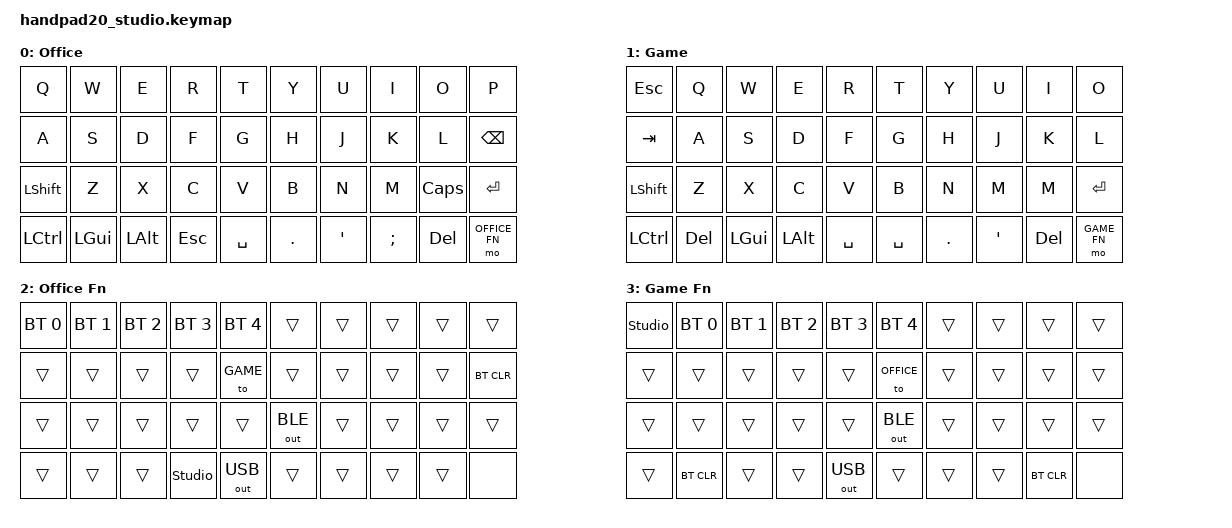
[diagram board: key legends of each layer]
#include <behaviors.dtsi>
#include <dt-bindings/zmk/bt.h>
#include <dt-bindings/zmk/keys.h>
#include <dt-bindings/zmk/outputs.h>

#define OFFICE     0
#define GAME       1
#define OFFICE_FN  2
#define GAME_FN    3

/ {
    keymap {
        compatible = "zmk,keymap";

        office_layer {
            display-name = "Office";
            bindings = <
                &kp Q      &kp W     &kp E     &kp R     &kp T      &kp Y    &kp U    &kp I     &kp O    &kp P
                &kp A      &kp S     &kp D     &kp F     &kp G      &kp H    &kp J    &kp K     &kp L    &kp BSPC
                &kp LSHFT  &kp Z     &kp X     &kp C     &kp V      &kp B    &kp N    &kp M     &kp CAPS &kp ENTER
                &kp LCTRL  &kp LGUI  &kp LALT  &kp ESC   &kp SPACE  &kp DOT  &kp SQT  &kp SEMI  &kp DEL  &mo OFFICE_FN
            >;
        };

        game_layer {
            display-name = "Game";
            bindings = <
                &kp ESC    &kp Q    &kp W     &kp E     &kp R      &kp T      &kp Y    &kp U    &kp I    &kp O
                &kp TAB    &kp A    &kp S     &kp D     &kp F      &kp G      &kp H    &kp J    &kp K    &kp L
                &kp LSHFT  &kp Z    &kp X     &kp C     &kp V      &kp B      &kp N    &kp M    &kp M    &kp ENTER
                &kp LCTRL  &kp DEL  &kp LGUI  &kp LALT  &kp SPACE  &kp SPACE  &kp DOT  &kp SQT  &kp DEL  &mo GAME_FN
            >;
        };

        office_fn_layer {
            display-name = "Office Fn";
            bindings = <
                &bt BT_SEL 0  &bt BT_SEL 1  &bt BT_SEL 2  &bt BT_SEL 3  &bt BT_SEL 4  &trans        &trans  &trans  &trans  &trans
                &trans        &trans        &trans        &trans        &to GAME       &trans        &trans  &trans  &trans  &bt BT_CLR
                &trans        &trans        &trans        &trans        &trans         &out OUT_BLE  &trans  &trans  &trans  &trans
                &trans        &trans        &trans        &studio_unlock &out OUT_USB  &trans        &trans  &trans  &trans  &none
            >;
        };

        game_fn_layer {
            display-name = "Game Fn";
            bindings = <
                &studio_unlock &bt BT_SEL 0  &bt BT_SEL 1  &bt BT_SEL 2  &bt BT_SEL 3  &bt BT_SEL 4  &trans        &trans  &trans     &trans
                &trans         &trans        &trans        &trans        &trans        &to OFFICE    &trans        &trans  &trans     &trans
                &trans         &trans        &trans        &trans        &trans        &out OUT_BLE  &trans        &trans  &trans     &trans
                &trans         &bt BT_CLR    &trans        &trans        &out OUT_USB  &trans        &trans        &trans  &bt BT_CLR &none
            >;
        };
    };
};
